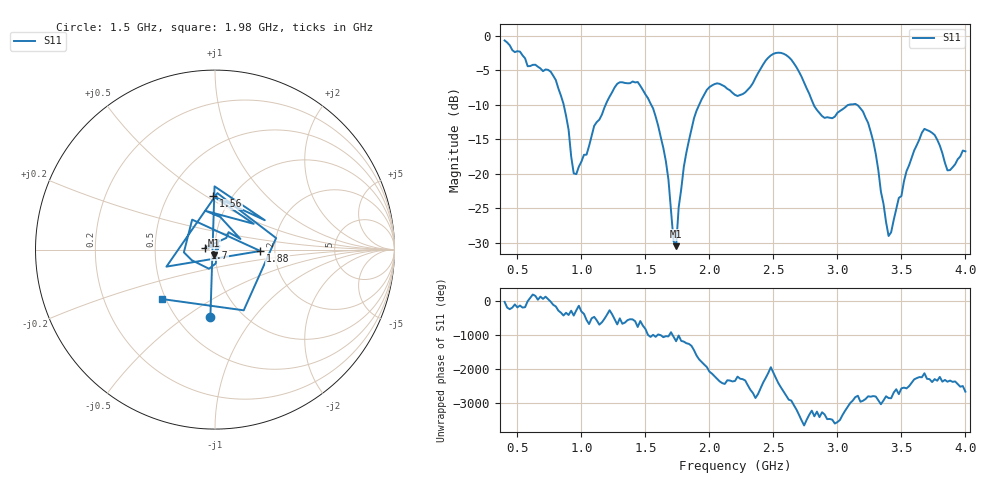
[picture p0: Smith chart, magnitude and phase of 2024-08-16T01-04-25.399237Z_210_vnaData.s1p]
!Created with skrf (http://scikit-rf.org).
# Hz S RI R 50.0
!freq ReS11 ImS11
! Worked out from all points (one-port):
!   181 points, 400 MHz to 4 GHz, reference 50 ohm
!   lowest |S11| = -30.5 dB at 1.74 GHz (marker M1), VSWR 1.06, Z = 49.6 - j2.94 ohm
!   |S11| at or under -10 dB: 861.4 MHz to 1.19 GHz (328.3 MHz wide, 32 % of centre); 1.545 GHz to 1.921 GHz (376.2 MHz wide, 21.7 % of centre); 3.15 GHz to end of sweep (the widest 3 of 4)
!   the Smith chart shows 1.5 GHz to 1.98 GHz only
!   S11 on the Smith chart (normalised r, x): 1.5 GHz: 0.72, -0.63; 1.56 GHz: 0.82, +0.54; 1.7 GHz: 0.90, +0.02; 1.88 GHz: 1.68, -0.03; 1.98 GHz: 0.48, -0.31
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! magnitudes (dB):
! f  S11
! 400 MHz  -0.7
! 760 MHz  -5.2
! 860 MHz  -9.9
! 940 MHz  -20.0
! 960 MHz  -20.1
! 1.3 GHz  -6.8
! 1.5 GHz  -8.5
! 1.56 GHz  -10.5
! 1.66 GHz  -18.2
! 1.7 GHz  -25.3
! 1.72 GHz  -29.8
! 1.74 GHz  -30.5
! 1.76 GHz  -24.9
! 1.88 GHz  -11.9
! 1.98 GHz  -7.9
! 2.2 GHz  -8.6
! 2.5 GHz  -2.6
! 2.66 GHz  -4.0
! 2.88 GHz  -11.6
! 3.1 GHz  -10.0
! 3.24 GHz  -12.6
! 3.3 GHz  -17.2
! 3.4 GHz  -29.0
! 3.56 GHz  -18.8
! 3.68 GHz  -13.5
! 3.76 GHz  -14.4
! 3.86 GHz  -19.5
! 4 GHz  -16.8
